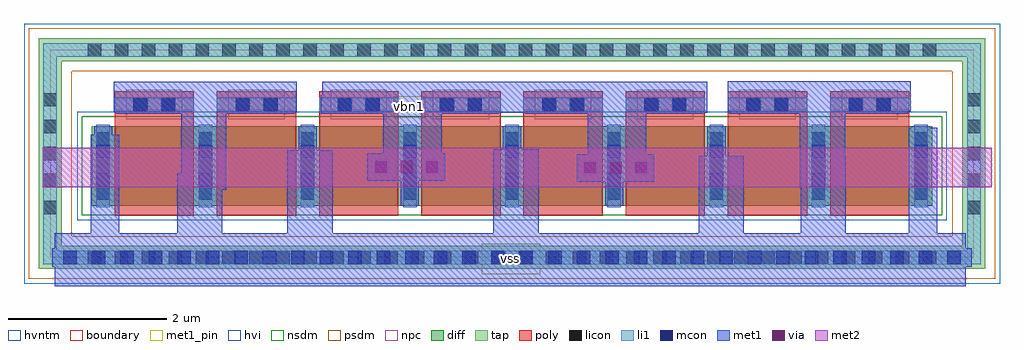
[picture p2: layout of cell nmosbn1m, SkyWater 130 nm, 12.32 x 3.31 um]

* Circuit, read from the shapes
.subckt nmosbn1m vbn1 vss
XM1 vss vss vss vss sky130_fd_pr__nfet_g5v0d10v5 w=1 l=1 m=4
XM2 vbn1 vbn1 vss vss sky130_fd_pr__nfet_g5v0d10v5 w=1 l=1 m=4
.ends

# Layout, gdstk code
from math import pi, radians
import gdstk
lib = gdstk.Library(unit=1e-6, precision=1e-09)
def R(c, l, rs):  # rectangles x0, y0, x1, y1
    for r in rs: c.add(gdstk.rectangle(r[:2], r[2:], *l))
def A(c, l, x, y, w, h, nx, ny, dx, dy):  # array of equal rectangles
    R(c, l, [(x+i*dx, y+j*dy, x+i*dx+w, y+j*dy+h) for i in range(nx) for j in range(ny)])
diff = (65, 20)
tap = (65, 44)
poly = (66, 20)
licon = (66, 44)
li1 = (67, 20)
mcon = (67, 44)
met1_pin = (68, 16)
met1 = (68, 20)
via = (68, 44)
met2 = (69, 20)
hvi = (75, 20)
nsdm = (93, 44)
psdm = (94, 20)
npc = (95, 20)
hvntm = (125, 20)
boundary = (235, 4)

sky130_fd_pr__nfet_g5v0d = lib.new_cell('sky130_fd_pr__nfet_g5v0d10v5_GZFTXV')
R(sky130_fd_pr__nfet_g5v0d, diff, [(-5.305,-0.655,5.305,0.345)])
R(sky130_fd_pr__nfet_g5v0d, tap, [(-5.975,-1.455,5.975,-1.165), (-5.975,-1.165,-5.685,1.165), (5.685,-1.165,5.975,1.165), (-5.975,1.165,5.975,1.455)])
A(sky130_fd_pr__nfet_g5v0d, poly, -5.015, -0.785, 1, 1.57, 8, 1, 1.29, 0)
A(sky130_fd_pr__nfet_g5v0d, licon, -5.355, -1.395, 0.17, 0.17, 32, 2, 0.34, 2.62)
A(sky130_fd_pr__nfet_g5v0d, licon, -5.915, -0.765, 0.17, 0.17, 1, 5, 0, 0.34)
A(sky130_fd_pr__nfet_g5v0d, licon, 5.745, -0.765, 0.17, 0.17, 1, 5, 0, 0.34)
A(sky130_fd_pr__nfet_g5v0d, licon, -5.245, -0.58, 0.17, 0.17, 9, 3, 1.29, 0.34)
R(sky130_fd_pr__nfet_g5v0d, licon, [(-4.77,0.535,-4.6,0.705), (-4.43,0.535,-4.26,0.705), (-3.48,0.535,-3.31,0.705), (-3.14,0.535,-2.97,0.705), (-2.19,0.535,-2.02,0.705), (-1.85,0.535,-1.68,0.705), (-0.9,0.535,-0.73,0.705), (-0.56,0.535,-0.39,0.705), (0.39,0.535,0.56,0.705), (0.73,0.535,0.9,0.705), (1.68,0.535,1.85,0.705), (2.02,0.535,2.19,0.705), (2.97,0.535,3.14,0.705), (3.31,0.535,3.48,0.705), (4.26,0.535,4.43,0.705), (4.6,0.535,4.77,0.705)])
A(sky130_fd_pr__nfet_g5v0d, li1, -5.245, -0.675, 0.17, 1.04, 9, 1, 1.29, 0)
A(sky130_fd_pr__nfet_g5v0d, li1, -5.015, 0.535, 1, 0.17, 8, 1, 1.29, 0)
R(sky130_fd_pr__nfet_g5v0d, li1, [(-5.915,-1.395,5.915,-1.225), (-5.915,-1.225,-5.745,1.225), (5.745,-1.225,5.915,1.225), (-5.915,1.225,5.915,1.395)])
A(sky130_fd_pr__nfet_g5v0d, mcon, -5.665, -1.395, 0.17, 0.17, 32, 1, 0.36, 0)
A(sky130_fd_pr__nfet_g5v0d, mcon, -5.245, -0.42, 0.17, 0.17, 9, 2, 1.29, 0.36)
R(sky130_fd_pr__nfet_g5v0d, mcon, [(-4.78,0.535,-4.61,0.705), (-4.42,0.535,-4.25,0.705), (-3.49,0.535,-3.32,0.705), (-3.13,0.535,-2.96,0.705), (-2.2,0.535,-2.03,0.705), (-1.84,0.535,-1.67,0.705), (-0.91,0.535,-0.74,0.705), (-0.55,0.535,-0.38,0.705), (0.38,0.535,0.55,0.705), (0.74,0.535,0.91,0.705), (1.67,0.535,1.84,0.705), (2.03,0.535,2.2,0.705), (2.96,0.535,3.13,0.705), (3.32,0.535,3.49,0.705), (4.25,0.535,4.42,0.705), (4.61,0.535,4.78,0.705)])
A(sky130_fd_pr__nfet_g5v0d, met1, -5.275, -0.655, 0.23, 1, 9, 1, 1.29, 0)
A(sky130_fd_pr__nfet_g5v0d, met1, -4.995, 0.505, 0.96, 0.23, 8, 1, 1.29, 0)
R(sky130_fd_pr__nfet_g5v0d, met1, [(-5.805,-1.425,5.805,-1.195)])
R(sky130_fd_pr__nfet_g5v0d, hvi, [(-6.16,-1.64,6.16,1.64)])
R(sky130_fd_pr__nfet_g5v0d, nsdm, [(-5.43,-0.78,5.43,0.47)])
R(sky130_fd_pr__nfet_g5v0d, psdm, [(-6.1,-1.58,6.1,-1.04), (-6.1,-1.04,-5.56,1.04), (5.56,-1.04,6.1,1.04), (-6.1,1.04,6.1,1.58)])
A(sky130_fd_pr__nfet_g5v0d, npc, -4.87, 0.435, 0.71, 0.37, 8, 1, 1.29, 0)
R(sky130_fd_pr__nfet_g5v0d, hvntm, [(-5.49,-0.84,5.49,0.53)])
R(sky130_fd_pr__nfet_g5v0d, boundary, [(-5.83,-1.31,5.83,1.31)])

viam1m2_1u = lib.new_cell('viam1m2_1u')
R(viam1m2_1u, met1, [(-0.02,-0.04,0.33,0.94)])
A(viam1m2_1u, via, 0.075, 0.06, 0.15, 0.15, 1, 3, 0, 0.32)
R(viam1m2_1u, met2, [(-0.02,-0.04,0.33,0.94)])

nmosbn1m = lib.new_cell('nmosbn1m')
R(nmosbn1m, met1_pin, [(5.31,-0.38,6.05,0.01), (4.2,1.6,4.6,1.87)])
R(nmosbn1m, met1, [(-0.08,-0.53,11.42,0.14), (0.38,0.14,0.74,1.38), (1.47,0.14,2.04,0.69), (2.86,0.14,3.43,1.19), (5.46,0.14,6.03,1.2), (8.05,0.14,8.62,1.12), (9.34,0.14,9.91,0.73), (10.7,0.14,11.06,1.47), (1.47,0.69,2.09,0.9), (9.33,0.73,9.91,1.11), (4.07,0.83,4.81,1.66), (6.65,0.84,7.39,1.66), (1.52,0.9,2.09,1.67), (9.33,1.11,9.9,1.68), (3.3,1.66,8.16,2.05), (0.67,1.67,2.98,2.05), (8.42,1.68,10.73,2.06)])
R(nmosbn1m, met2, [(-0.23,0.72,11.75,1.22)])
nmosbn1m.add(gdstk.Reference(sky130_fd_pr__nfet_g5v0d, (5.695,1.145)))
nmosbn1m.add(gdstk.Reference(viam1m2_1u, (6.55,1.12), rotation=3*pi/2))
nmosbn1m.add(gdstk.Reference(viam1m2_1u, (3.91,1.13), rotation=3*pi/2))
nmosbn1m.add(gdstk.Label('vss', (5.68,-0.185), layer=68, texttype=5))
nmosbn1m.add(gdstk.Label('vbn1', (4.4,1.735), layer=68, texttype=5))

lib.write_gds('nmosbn1m.gds')
